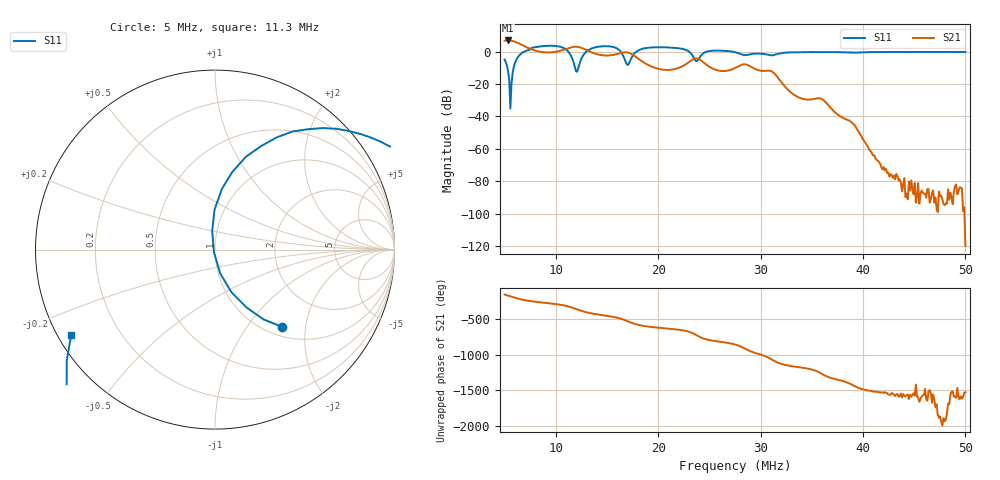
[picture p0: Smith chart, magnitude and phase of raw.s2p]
! S11/S21 only; reverse parameters are placeholders. Device calibration unverified.
! NanoVNA F V2 profile | COM3 | 2026-09-08T12:30:20.5120787-04:00 | device calibration unverified
# HZ S RI R 50
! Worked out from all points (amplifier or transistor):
!   401 points, 5 MHz to 50 MHz, reference 50 ohm
!   highest |S21| = 6.9 dB at 5.338 MHz (marker M1)
!   |S21| within 3 dB of that: start of sweep to 6.767 MHz
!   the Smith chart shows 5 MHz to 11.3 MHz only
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5000000  0.3734 -0.4302  -2.029 -0.7928  0 0  0 0
5337500  0.0917 -0.238  -2.192 -0.2816  0 0  0 0
6912500  0.7469 0.6605  -0.8336 1.226  0 0  0 0
7250000  0.9251 0.6003  -0.5712 1.189  0 0  0 0
7812500  0.503 -1.238  -0.2712 1.09  0 0  0 0
8937500  0.1204 -1.491  0.0744 0.9465  0 0  0 0
1.11875e7  -0.8259 -0.6161  1.028 0.7357  0 0  0 0
1.25375e7  0.6386 0.0841  1.134 -0.6281  0 0  0 0
1.36625e7  1.046 -0.7792  0.3425 -0.8398  0 0  0 0
1.52375e7  0.4746 -1.377  -0.1656 -0.7455  0 0  0 0
1.65875e7  -0.5774 -0.456  -0.8045 -0.4812  0 0  0 0
1.74875e7  0.499 0.5298  -0.7614 0.2759  0 0  0 0
1.83875e7  1.203 0.0633  -0.2979 0.4147  0 0  0 0
2.0075e7  1.259 -0.5145  -0.0304 0.2894  0 0  0 0
2.2775e7  0.7288 -0.8343  0.2808 0.3172  0 0  0 0
2.3675e7  0.4036 -0.3212  0.6162 -0.0429  0 0  0 0
2.75e7  0.7743 -0.5688  -0.235 -0.2068  0 0  0 0
2.91875e7  0.7572 -0.3869  -0.1443 0.2914  0 0  0 0
3.50375e7  0.7002 -0.6673  -0.0227 -0.0252  0 0  0 0
3.8975e7  0.5343 -0.7599  0.00604 0.00135  0 0  0 0
4.2575e7  0.4435 -0.8674  -7.7e-05 -0.000117  0 0  0 0
5e7  0.1586 -0.9645  -0 -1e-06  0 0  0 0
